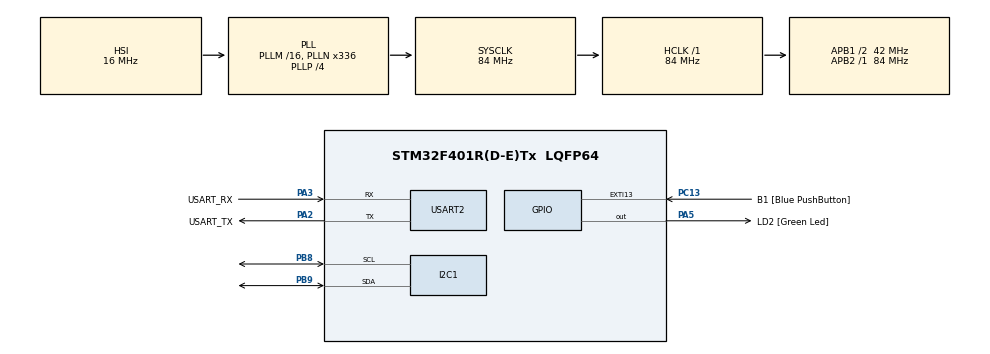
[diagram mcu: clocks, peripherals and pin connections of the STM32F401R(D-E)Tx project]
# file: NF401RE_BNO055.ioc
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Mcu.Family=STM32F4
Mcu.Name=STM32F401R(D-E)Tx
Mcu.Package=LQFP64
NVIC.PriorityGroup=NVIC_PRIORITYGROUP_0
PA13.GPIO_Label=TMS
PA13.Mode=Serial_Wire
PA13.Signal=SYS_JTMS-SWDIO
PA14.GPIO_Label=TCK
PA14.Mode=Serial_Wire
PA14.Signal=SYS_JTCK-SWCLK
PA2.GPIO_Label=USART_TX
PA2.GPIO_Mode=GPIO_MODE_AF_PP
PA2.GPIO_PuPd=GPIO_NOPULL
PA2.GPIO_Speed=GPIO_SPEED_FREQ_LOW
PA2.Mode=Asynchronous
PA2.Signal=USART2_TX
PA3.GPIO_Label=USART_RX
PA3.GPIO_Mode=GPIO_MODE_AF_PP
PA3.GPIO_PuPd=GPIO_NOPULL
PA3.GPIO_Speed=GPIO_SPEED_FREQ_LOW
PA3.Mode=Asynchronous
PA3.Signal=USART2_RX
PA5.GPIO_Label=LD2 [Green Led]
PA5.GPIO_Mode=GPIO_MODE_OUTPUT_PP
PA5.GPIO_PuPd=GPIO_NOPULL
PA5.GPIO_Speed=GPIO_SPEED_FREQ_LOW
PA5.Signal=GPIO_Output
PB3.GPIO_Label=SWO
PB3.Signal=SYS_JTDO-SWO
PB8.GPIO_PuPdOD=GPIO_NOPULL
PB8.Mode=I2C
PB8.Signal=I2C1_SCL
PB9.GPIO_PuPdOD=GPIO_NOPULL
PB9.Mode=I2C
PB9.Signal=I2C1_SDA
PC13-ANTI_TAMP.GPIO_Label=B1 [Blue PushButton]
PC13-ANTI_TAMP.GPIO_ModeDefaultEXTI=GPIO_MODE_IT_FALLING
PC13-ANTI_TAMP.GPIO_PuPd=GPIO_NOPULL
PC13-ANTI_TAMP.Signal=GPXTI13
PC14-OSC32_IN.Mode=LSE-External-Oscillator
PC14-OSC32_IN.Signal=RCC_OSC32_IN
PC15-OSC32_OUT.Mode=LSE-External-Oscillator
PC15-OSC32_OUT.Signal=RCC_OSC32_OUT
PH0\ -\ OSC_IN.Mode=HSE-External-Clock-Source
PH0\ -\ OSC_IN.Signal=RCC_OSC_IN
PH1\ -\ OSC_OUT.Mode=HSE-External-Clock-Source
PH1\ -\ OSC_OUT.Signal=RCC_OSC_OUT
ProjectManager.HeapSize=0x200
ProjectManager.StackSize=0x400
ProjectManager.TargetToolchain=Makefile
RCC.48MHZClocksFreq_Value=48000000
RCC.AHBFreq_Value=84000000
RCC.APB1CLKDivider=RCC_HCLK_DIV2
RCC.APB1Freq_Value=42000000
RCC.APB1TimFreq_Value=84000000
RCC.APB2Freq_Value=84000000
RCC.APB2TimFreq_Value=84000000
RCC.CortexFreq_Value=84000000
RCC.HCLKFreq_Value=84000000
RCC.HSE_VALUE=8000000
RCC.HSI_VALUE=16000000
RCC.PLLN=336
RCC.PLLP=RCC_PLLP_DIV4
RCC.PLLQ=7
RCC.SYSCLKFreq_VALUE=84000000
RCC.SYSCLKSource=RCC_SYSCLKSOURCE_PLLCLK
RCC.VCOOutputFreq_Value=336000000
USART2.VirtualMode=VM_ASYNC
board=NUCLEO-F401RE

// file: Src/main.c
/* USER CODE BEGIN Header */
/**
  ******************************************************************************
  * @file           : main.c
  * @brief          : Main program body
  ******************************************************************************
  * @attention
  *
  * <h2><center>&copy; Copyright (c) 2020 STMicroelectronics.
  * All rights reserved.</center></h2>
  *
  * This software component is licensed by ST under BSD 3-Clause license,
  * the "License"; You may not use this file except in compliance with the
  * License. You may obtain a copy of the License at:
  *                        opensource.org/licenses/BSD-3-Clause
  *
  ******************************************************************************
  */
/* USER CODE END Header */

#include "main.h"
#include "i2c.h"
#include "usart.h"
#include "gpio.h"

/* USER CODE BEGIN Includes */
#include <stdio.h>
#include <stdint.h>

#include "bno055.h"

#ifdef __GNUC__
#define PUTCHAR_PROTOTYPE int __io_putchar(int ch)
#else
#define PUTCHAR_PROTOTYPE int fputc(int ch, FILE *f)
#endif /* __GNUC__ */
/* USER CODE END Includes */

/* USER CODE BEGIN PTD */
struct bno055_t bno055;
u8 power_mode = BNO055_INIT_VALUE;
s32 comres = BNO055_ERROR;

struct bno055_accel_t accel_xyz;
struct bno055_gyro_t gyro_xyz;
/* USER CODE END PTD */

/* USER CODE BEGIN PV */
void __io_putchar(uint8_t ch) {
HAL_UART_Transmit(&huart2, &ch, 1, 1);
}
/* USER CODE END PV */

void SystemClock_Config(void);
/* USER CODE BEGIN PFP */

s8 BNO055_I2C_bus_write(u8 dev_addr, u8 reg_addr, u8 *reg_data, u8 cnt);
s8 BNO055_I2C_bus_read(u8 dev_addr, u8 reg_addr, u8 *reg_data, u8 cnt);
void BNO055_delay_msek(u32 msek);

/* USER CODE END PFP */

int main(void)
{

  /* MCU Configuration--------------------------------------------------------*/

  /* Reset of all peripherals, Initializes the Flash interface and the Systick. */
  HAL_Init();

  /* Configure the system clock */
  SystemClock_Config();

  /* Initialize all configured peripherals */
  MX_GPIO_Init();
  MX_I2C1_Init();
  MX_USART2_UART_Init();
  /* USER CODE BEGIN 2 */
  setbuf(stdout, NULL);
  /* USER CODE END 2 */

  /* Infinite loop */
  /* USER CODE BEGIN WHILE */
  /rintf("%s:%s\r\n",__DATE__, __TIME__);
  HAL_Delay(10);

  bno055.bus_write = BNO055_I2C_bus_write;
  bno055.bus_read = BNO055_I2C_bus_read;
  bno055.delay_msec = BNO055_delay_msek;
  bno055.dev_addr = BNO055_I2C_ADDR1;

  comres = bno055_init(&bno055);
  comres += bno055_set_power_mode(power_mode);
  comres += bno055_set_operation_mode(BNO055_OPERATION_MODE_AMG);
  printf("bno055_status = %d\r\n", comres);

  while (1)
  {
    /* USER CODE END WHILE */

    /* USER CODE BEGIN 3 */

    HAL_Delay(2);
    comres += bno055_read_accel_xyz(&accel_xyz);
    printf("%5d, %5d, %5d,", accel_xyz.x, accel_xyz.y, accel_xyz.z);
    comres += bno055_read_gyro_xyz(&gyro_xyz);
    printf("%5d, %5d, %5d\r\n", gyro_xyz.x, gyro_xyz.y, gyro_xyz.z);

    HAL_GPIO_TogglePin(LD2_GPIO_Port, LD2_Pin);

  }
  /* USER CODE END 3 */
}

void SystemClock_Config(void)
{
  RCC_OscInitTypeDef RCC_OscInitStruct = {0};
  RCC_ClkInitTypeDef RCC_ClkInitStruct = {0};

  /** Configure the main internal regulator output voltage
  */
  __HAL_RCC_PWR_CLK_ENABLE();
  __HAL_PWR_VOLTAGESCALING_CONFIG(PWR_REGULATOR_VOLTAGE_SCALE2);
  /** Initializes the CPU, AHB and APB busses clocks
  */
  RCC_OscInitStruct.OscillatorType = RCC_OSCILLATORTYPE_HSI;
  RCC_OscInitStruct.HSIState = RCC_HSI_ON;
  RCC_OscInitStruct.HSICalibrationValue = RCC_HSICALIBRATION_DEFAULT;
  RCC_OscInitStruct.PLL.PLLState = RCC_PLL_ON;
  RCC_OscInitStruct.PLL.PLLSource = RCC_PLLSOURCE_HSI;
  RCC_OscInitStruct.PLL.PLLM = 16;
  RCC_OscInitStruct.PLL.PLLN = 336;
  RCC_OscInitStruct.PLL.PLLP = RCC_PLLP_DIV4;
  RCC_OscInitStruct.PLL.PLLQ = 7;
  if (HAL_RCC_OscConfig(&RCC_OscInitStruct) != HAL_OK)
  {
    Error_Handler();
  }
  /** Initializes the CPU, AHB and APB busses clocks
  */
  RCC_ClkInitStruct.ClockType = RCC_CLOCKTYPE_HCLK|RCC_CLOCKTYPE_SYSCLK
                              |RCC_CLOCKTYPE_PCLK1|RCC_CLOCKTYPE_PCLK2;
  RCC_ClkInitStruct.SYSCLKSource = RCC_SYSCLKSOURCE_PLLCLK;
  RCC_ClkInitStruct.AHBCLKDivider = RCC_SYSCLK_DIV1;
  RCC_ClkInitStruct.APB1CLKDivider = RCC_HCLK_DIV2;
  RCC_ClkInitStruct.APB2CLKDivider = RCC_HCLK_DIV1;

  if (HAL_RCC_ClockConfig(&RCC_ClkInitStruct, FLASH_LATENCY_2) != HAL_OK)
  {
    Error_Handler();
  }
}

/* USER CODE BEGIN 4 */

s8 BNO055_I2C_bus_write(u8 dev_addr, u8 reg_addr, u8 *reg_data, u8 cnt)
{
    s32 BNO055_iERROR = BNO055_INIT_VALUE;
    HAL_StatusTypeDef state;

    state = HAL_I2C_Mem_Write(&hi2c1, dev_addr << 1, reg_addr, I2C_MEMADD_SIZE_8BIT, reg_data, cnt , 1000);
    if(state!= HAL_OK){
        BNO055_iERROR = BNO055_ERROR;
    }
    return (s8)BNO055_iERROR;
}

s8 BNO055_I2C_bus_read(u8 dev_addr, u8 reg_addr, u8 *reg_data, u8 cnt)
{
    s32 BNO055_iERROR = BNO055_INIT_VALUE;
    HAL_StatusTypeDef state;

    state = HAL_I2C_Mem_Read(&hi2c1, dev_addr << 1, reg_addr, I2C_MEMADD_SIZE_8BIT, reg_data, cnt , 1000);
    if(state != HAL_OK){
        BNO055_iERROR = BNO055_ERROR;
    }
    return (s8)BNO055_iERROR;
}

void BNO055_delay_msek(u32 msek)
{
    /*Here you can write your own delay routine*/
    HAL_Delay(msek);
}
/* USER CODE END 4 */

void Error_Handler(void)
{
}

/************************ (C) COPYRIGHT STMicroelectronics *****END OF FILE****/
